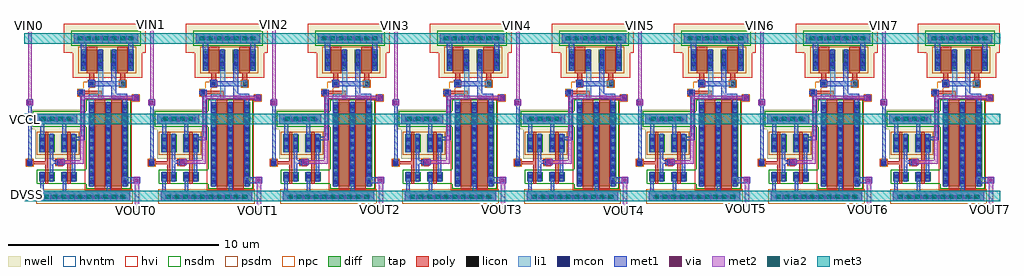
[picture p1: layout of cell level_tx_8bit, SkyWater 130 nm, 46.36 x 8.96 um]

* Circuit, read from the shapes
.subckt level_tx_8bit DVSS VCC VCCL VIN0 VIN1 VIN2 VIN3 VIN4 VIN5 VIN6 VIN7 VOUT0 VOUT1 VOUT2 VOUT3 VOUT4 VOUT5 VOUT6 VOUT7
XM1 n1 VIN0 DVSS DVSS sky130_fd_pr__nfet_01v8 w=0.42 l=0.15
XM2 n2 n1 DVSS DVSS sky130_fd_pr__nfet_01v8 w=0.42 l=0.15
XM3 DVSS n2 n3 DVSS sky130_fd_pr__nfet_g5v0d10v5 w=4 l=0.5
XM4 VOUT0 n1 DVSS DVSS sky130_fd_pr__nfet_g5v0d10v5 w=4 l=0.5
XM5 n4 VIN1 DVSS DVSS sky130_fd_pr__nfet_01v8 w=0.42 l=0.15
XM6 n5 n4 DVSS DVSS sky130_fd_pr__nfet_01v8 w=0.42 l=0.15
XM7 DVSS n5 n6 DVSS sky130_fd_pr__nfet_g5v0d10v5 w=4 l=0.5
XM8 VOUT1 n4 DVSS DVSS sky130_fd_pr__nfet_g5v0d10v5 w=4 l=0.5
XM9 n7 VIN2 DVSS DVSS sky130_fd_pr__nfet_01v8 w=0.42 l=0.15
XM10 n8 n7 DVSS DVSS sky130_fd_pr__nfet_01v8 w=0.42 l=0.15
XM11 DVSS n8 n9 DVSS sky130_fd_pr__nfet_g5v0d10v5 w=4 l=0.5
XM12 VOUT2 n7 DVSS DVSS sky130_fd_pr__nfet_g5v0d10v5 w=4 l=0.5
XM13 n10 VIN3 DVSS DVSS sky130_fd_pr__nfet_01v8 w=0.42 l=0.15
XM14 n11 n10 DVSS DVSS sky130_fd_pr__nfet_01v8 w=0.42 l=0.15
XM15 DVSS n11 n12 DVSS sky130_fd_pr__nfet_g5v0d10v5 w=4 l=0.5
XM16 VOUT3 n10 DVSS DVSS sky130_fd_pr__nfet_g5v0d10v5 w=4 l=0.5
XM17 n13 VIN4 DVSS DVSS sky130_fd_pr__nfet_01v8 w=0.42 l=0.15
XM18 n14 n13 DVSS DVSS sky130_fd_pr__nfet_01v8 w=0.42 l=0.15
XM19 DVSS n14 n15 DVSS sky130_fd_pr__nfet_g5v0d10v5 w=4 l=0.5
XM20 VOUT4 n13 DVSS DVSS sky130_fd_pr__nfet_g5v0d10v5 w=4 l=0.5
XM21 n16 VIN5 DVSS DVSS sky130_fd_pr__nfet_01v8 w=0.42 l=0.15
XM22 n17 n16 DVSS DVSS sky130_fd_pr__nfet_01v8 w=0.42 l=0.15
XM23 DVSS n17 n18 DVSS sky130_fd_pr__nfet_g5v0d10v5 w=4 l=0.5
XM24 VOUT5 n16 DVSS DVSS sky130_fd_pr__nfet_g5v0d10v5 w=4 l=0.5
XM25 n19 VIN6 DVSS DVSS sky130_fd_pr__nfet_01v8 w=0.42 l=0.15
XM26 n20 n19 DVSS DVSS sky130_fd_pr__nfet_01v8 w=0.42 l=0.15
XM27 DVSS n20 n21 DVSS sky130_fd_pr__nfet_g5v0d10v5 w=4 l=0.5
XM28 VOUT6 n19 DVSS DVSS sky130_fd_pr__nfet_g5v0d10v5 w=4 l=0.5
XM29 n22 VIN7 DVSS DVSS sky130_fd_pr__nfet_01v8 w=0.42 l=0.15
XM30 n23 n22 DVSS DVSS sky130_fd_pr__nfet_01v8 w=0.42 l=0.15
XM31 DVSS n23 n24 DVSS sky130_fd_pr__nfet_g5v0d10v5 w=4 l=0.5
XM32 VOUT7 n22 DVSS DVSS sky130_fd_pr__nfet_g5v0d10v5 w=4 l=0.5
XM33 n1 VIN0 VCCL VCCL sky130_fd_pr__pfet_01v8 w=0.84 l=0.15
XM34 n2 n1 VCCL VCCL sky130_fd_pr__pfet_01v8 w=0.84 l=0.15
XM35 n3 VOUT0 VCC VCC sky130_fd_pr__pfet_g5v0d10v5 w=1 l=0.5
XM36 VCC n3 VOUT0 VCC sky130_fd_pr__pfet_g5v0d10v5 w=1 l=0.5
XM37 n4 VIN1 VCCL VCCL sky130_fd_pr__pfet_01v8 w=0.84 l=0.15
XM38 n5 n4 VCCL VCCL sky130_fd_pr__pfet_01v8 w=0.84 l=0.15
XM39 n6 VOUT1 VCC VCC sky130_fd_pr__pfet_g5v0d10v5 w=1 l=0.5
XM40 VCC n6 VOUT1 VCC sky130_fd_pr__pfet_g5v0d10v5 w=1 l=0.5
XM41 n7 VIN2 VCCL VCCL sky130_fd_pr__pfet_01v8 w=0.84 l=0.15
XM42 n8 n7 VCCL VCCL sky130_fd_pr__pfet_01v8 w=0.84 l=0.15
XM43 n9 VOUT2 VCC VCC sky130_fd_pr__pfet_g5v0d10v5 w=1 l=0.5
XM44 VCC n9 VOUT2 VCC sky130_fd_pr__pfet_g5v0d10v5 w=1 l=0.5
XM45 n10 VIN3 VCCL VCCL sky130_fd_pr__pfet_01v8 w=0.84 l=0.15
XM46 n11 n10 VCCL VCCL sky130_fd_pr__pfet_01v8 w=0.84 l=0.15
XM47 n12 VOUT3 VCC VCC sky130_fd_pr__pfet_g5v0d10v5 w=1 l=0.5
XM48 VCC n12 VOUT3 VCC sky130_fd_pr__pfet_g5v0d10v5 w=1 l=0.5
XM49 n13 VIN4 VCCL VCCL sky130_fd_pr__pfet_01v8 w=0.84 l=0.15
XM50 n14 n13 VCCL VCCL sky130_fd_pr__pfet_01v8 w=0.84 l=0.15
XM51 n15 VOUT4 VCC VCC sky130_fd_pr__pfet_g5v0d10v5 w=1 l=0.5
XM52 VCC n15 VOUT4 VCC sky130_fd_pr__pfet_g5v0d10v5 w=1 l=0.5
XM53 n16 VIN5 VCCL VCCL sky130_fd_pr__pfet_01v8 w=0.84 l=0.15
XM54 n17 n16 VCCL VCCL sky130_fd_pr__pfet_01v8 w=0.84 l=0.15
XM55 n18 VOUT5 VCC VCC sky130_fd_pr__pfet_g5v0d10v5 w=1 l=0.5
XM56 VCC n18 VOUT5 VCC sky130_fd_pr__pfet_g5v0d10v5 w=1 l=0.5
XM57 n19 VIN6 VCCL VCCL sky130_fd_pr__pfet_01v8 w=0.84 l=0.15
XM58 n20 n19 VCCL VCCL sky130_fd_pr__pfet_01v8 w=0.84 l=0.15
XM59 n21 VOUT6 VCC VCC sky130_fd_pr__pfet_g5v0d10v5 w=1 l=0.5
XM60 VCC n21 VOUT6 VCC sky130_fd_pr__pfet_g5v0d10v5 w=1 l=0.5
XM61 n22 VIN7 VCCL VCCL sky130_fd_pr__pfet_01v8 w=0.84 l=0.15
XM62 n23 n22 VCCL VCCL sky130_fd_pr__pfet_01v8 w=0.84 l=0.15
XM63 n24 VOUT7 VCC VCC sky130_fd_pr__pfet_g5v0d10v5 w=1 l=0.5
XM64 VCC n24 VOUT7 VCC sky130_fd_pr__pfet_g5v0d10v5 w=1 l=0.5
.ends

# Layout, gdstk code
import gdstk
lib = gdstk.Library(unit=1e-6, precision=1e-09)
def R(c, l, rs):  # rectangles x0, y0, x1, y1
    for r in rs: c.add(gdstk.rectangle(r[:2], r[2:], *l))
def A(c, l, x, y, w, h, nx, ny, dx, dy):  # array of equal rectangles
    R(c, l, [(x+i*dx, y+j*dy, x+i*dx+w, y+j*dy+h) for i in range(nx) for j in range(ny)])
nwell = (64, 20)
diff = (65, 20)
tap = (65, 44)
poly = (66, 20)
licon = (66, 44)
li1 = (67, 20)
mcon = (67, 44)
met1 = (68, 20)
via = (68, 44)
met2 = (69, 20)
via2 = (69, 44)
met3 = (70, 20)
hvi = (75, 20)
nsdm = (93, 44)
psdm = (94, 20)
npc = (95, 20)
hvntm = (125, 20)

level_tx_1bit = lib.new_cell('level_tx_1bit')
R(level_tx_1bit, nwell, [(-9.67,3.77,-7.53,5.17), (-9.88,5.17,-7.49,6.095), (-7.9,7.6,-4.6,8.79), (-8.33,8.79,-4.42,10.17)])
R(level_tx_1bit, diff, [(-7.14,2.45,-5.27,6.45), (-9.49,2.7,-8.76,3.12), (-8.44,2.7,-7.71,3.12), (-9.49,4.08,-8.76,4.92), (-8.44,4.08,-7.71,4.92), (-7.52,7.95,-6.44,8.95), (-6.08,7.95,-5,8.95)])
R(level_tx_1bit, tap, [(-9.505,1.74,-5.17,2.18), (-9.675,5.405,-7.69,5.895), (-7.84,9.25,-4.785,9.72)])
R(level_tx_1bit, poly, [(-6.85,2.32,-6.35,6.58), (-6.06,2.32,-5.56,6.55), (-9.2,2.57,-9.05,3.495), (-8.15,2.57,-8,3.525), (-10.1,3.435,-9.77,3.495), (-8.715,3.465,-8.385,3.525), (-10.1,3.495,-9.05,3.645), (-8.715,3.525,-8,3.675), (-10.1,3.645,-9.77,3.705), (-9.2,3.645,-9.05,5.05), (-8.715,3.675,-8.385,3.735), (-8.15,3.675,-8,5.05), (-5.065,6.515,-4.735,6.55), (-6.06,6.55,-4.735,6.75), (-6.685,6.58,-6.515,6.815), (-6.06,6.75,-5.57,6.755), (-5.065,6.75,-4.735,6.785), (-7.665,6.765,-7.335,6.815), (-7.665,6.815,-6.515,6.985), (-7.665,6.985,-7.335,7.035), (-5.68,7.19,-5.35,7.46), (-7.165,7.195,-6.835,7.465), (-5.63,7.46,-5.405,7.82), (-7.12,7.465,-6.88,7.82), (-7.23,7.82,-6.73,9.08), (-5.79,7.82,-5.29,9.08)])
A(level_tx_1bit, licon, -9.295, 1.855, 0.17, 0.17, 12, 1, 0.34, 0)
A(level_tx_1bit, licon, -7.08, 2.665, 0.17, 0.17, 3, 11, 0.79, 0.34)
A(level_tx_1bit, licon, -9.445, 5.545, 0.17, 0.17, 5, 1, 0.34, 0)
A(level_tx_1bit, licon, -7.46, 8.025, 0.17, 0.17, 1, 3, 0, 0.34)
A(level_tx_1bit, licon, -6.67, 8.025, 0.17, 0.17, 1, 3, 0, 0.34)
A(level_tx_1bit, licon, -6.02, 8.025, 0.17, 0.17, 1, 3, 0, 0.34)
A(level_tx_1bit, licon, -5.23, 8.025, 0.17, 0.17, 1, 3, 0, 0.34)
A(level_tx_1bit, licon, -7.61, 9.385, 0.17, 0.17, 8, 1, 0.34, 0)
R(level_tx_1bit, licon, [(-9.43,2.825,-9.26,2.995), (-8.99,2.825,-8.82,2.995), (-8.38,2.825,-8.21,2.995), (-7.94,2.825,-7.77,2.995), (-10.02,3.485,-9.85,3.655), (-8.635,3.515,-8.465,3.685), (-9.43,4.245,-9.26,4.415), (-8.99,4.245,-8.82,4.415), (-8.38,4.245,-8.21,4.415), (-7.94,4.245,-7.77,4.415), (-9.43,4.585,-9.26,4.755), (-8.99,4.585,-8.82,4.755), (-8.38,4.585,-8.21,4.755), (-7.94,4.585,-7.77,4.755), (-4.985,6.565,-4.815,6.735), (-7.585,6.815,-7.415,6.985), (-5.6,7.24,-5.43,7.41), (-7.085,7.245,-6.915,7.415)])
R(level_tx_1bit, li1, [(-9.505,1.74,-5.165,2.24), (-7.08,2.43,-6.91,5.91), (-6.29,2.43,-6.12,6.47), (-5.5,2.43,-5.33,6.47), (-9.43,2.68,-9.26,3.14), (-8.99,2.68,-8.82,3.14), (-8.38,2.68,-8.21,3.14), (-7.94,2.68,-7.77,3.14), (-10.02,3.405,-9.85,3.735), (-8.635,3.435,-8.465,3.765), (-9.43,4.06,-9.26,4.94), (-8.99,4.06,-8.82,4.94), (-8.38,4.06,-8.21,4.94), (-7.94,4.06,-7.77,4.94), (-9.675,5.405,-7.69,5.895), (-7.13,5.91,-6.905,6.6), (-4.985,6.485,-4.815,6.55), (-5,6.55,-4.8,6.75), (-7.13,6.6,-6.455,6.825), (-7.585,6.735,-7.415,7.065), (-4.985,6.75,-4.815,6.815), (-6.68,6.825,-6.455,7.215), (-5.6,7.16,-5.43,7.215), (-7.085,7.165,-6.915,7.21), (-7.12,7.21,-6.88,7.45), (-6.68,7.215,-5.4,7.44), (-6.68,7.44,-6.455,8.36), (-5.6,7.44,-5.43,7.49), (-7.085,7.45,-6.915,7.495), (-7.46,7.93,-7.29,8.97), (-6.02,7.93,-5.85,8.97), (-5.23,7.93,-5.06,8.97), (-6.67,8.36,-6.5,8.97), (-7.84,9.25,-4.785,9.72)])
A(level_tx_1bit, mcon, -9.225, 1.855, 0.17, 0.17, 11, 1, 0.36, 0)
A(level_tx_1bit, mcon, -7.08, 2.565, 0.17, 0.17, 3, 11, 0.79, 0.36)
A(level_tx_1bit, mcon, -9.485, 5.545, 0.17, 0.17, 5, 1, 0.36, 0)
A(level_tx_1bit, mcon, -7.68, 9.385, 0.17, 0.17, 8, 1, 0.36, 0)
R(level_tx_1bit, mcon, [(-9.43,2.825,-9.26,2.995), (-8.99,2.825,-8.82,2.995), (-8.38,2.825,-8.21,2.995), (-7.94,2.825,-7.77,2.995), (-10.02,3.485,-9.85,3.655), (-8.635,3.515,-8.465,3.685), (-9.43,4.235,-9.26,4.405), (-8.99,4.235,-8.82,4.405), (-8.38,4.235,-8.21,4.405), (-7.94,4.235,-7.77,4.405), (-9.43,4.595,-9.26,4.765), (-8.99,4.595,-8.82,4.765), (-8.38,4.595,-8.21,4.765), (-7.94,4.595,-7.77,4.765), (-4.985,6.565,-4.815,6.735), (-7.585,6.815,-7.415,6.985), (-7.085,7.245,-6.915,7.415), (-7.46,8.185,-7.29,8.355), (-6.67,8.185,-6.5,8.355), (-6.02,8.185,-5.85,8.355), (-5.23,8.185,-5.06,8.355), (-7.46,8.545,-7.29,8.715), (-6.67,8.545,-6.5,8.715), (-6.02,8.545,-5.85,8.715), (-5.23,8.545,-5.06,8.715)])
R(level_tx_1bit, met1, [(-9.505,1.74,-5.165,2.24), (-9.435,2.24,-9.27,2.7), (-8.37,2.24,-8.205,2.7), (-6.29,2.24,-6.095,2.45), (-7.11,2.45,-6.88,6.45), (-6.32,2.45,-6.09,6.45), (-5.53,2.45,-5.3,2.595), (-5.575,2.595,-4.68,2.885), (-9.46,2.7,-9.23,3.12), (-9.02,2.7,-8.79,3.12), (-8.41,2.7,-8.18,3.12), (-7.97,2.7,-7.74,3.12), (-5.55,2.885,-5.3,6.45), (-8.985,3.12,-8.815,3.515), (-7.935,3.12,-7.765,4.08), (-10.05,3.425,-9.82,3.715), (-8.665,3.455,-8.435,3.47), (-8.665,3.47,-8.285,3.515), (-8.985,3.515,-8.285,3.685), (-8.985,3.685,-8.815,4.08), (-8.665,3.685,-8.285,3.73), (-10.02,3.715,-9.85,6.27), (-8.665,3.73,-8.435,3.745), (-9.46,4.08,-9.23,4.92), (-9.02,4.08,-8.79,4.92), (-8.41,4.08,-8.18,4.92), (-7.97,4.08,-7.74,4.635), (-7.97,4.635,-7.32,4.815), (-7.97,4.815,-7.74,4.92), (-7.49,4.815,-7.32,6.755), (-9.445,4.92,-9.245,5.405), (-8.985,4.92,-8.815,4.94), (-8.395,4.92,-8.195,5.405), (-9.675,5.405,-7.69,5.89), (-10.065,6.27,-9.805,6.59), (-5.55,6.45,-5.31,6.6), (-5.03,6.49,-4.77,6.52), (-5.06,6.52,-4.74,6.78), (-6.07,6.6,-5.31,6.84), (-7.615,6.755,-7.32,6.815), (-5.03,6.78,-4.77,6.81), (-7.685,6.815,-7.32,6.985), (-6.07,6.84,-5.83,7.21), (-7.615,6.985,-7.32,7.045), (-7.15,7.15,-6.85,7.21), (-7.15,7.21,-5.83,7.45), (-7.15,7.45,-6.85,7.51), (-6.07,7.45,-5.83,7.95), (-7.49,7.95,-7.26,8.915), (-6.7,7.95,-6.47,8.95), (-6.07,7.95,-5.82,8.29), (-5.26,7.95,-5.03,8.9), (-6.05,8.29,-5.82,8.95), (-5.27,8.9,-5.015,9.25), (-7.505,8.915,-7.25,9.25), (-7.84,9.25,-4.785,9.72)])
A(level_tx_1bit, via, -9.175, 1.865, 0.15, 0.15, 12, 1, 0.32, 0)
A(level_tx_1bit, via, -9.395, 5.58, 0.15, 0.15, 5, 1, 0.32, 0)
A(level_tx_1bit, via, -7.53, 9.41, 0.15, 0.15, 8, 1, 0.32, 0)
R(level_tx_1bit, via, [(-4.93,2.665,-4.78,2.815), (-8.52,3.525,-8.37,3.675), (-10.01,6.355,-9.86,6.505), (-4.975,6.575,-4.825,6.725)])
R(level_tx_1bit, met2, [(-4.96,1.215,-4.745,2.565), (-9.505,1.74,-5.165,2.24), (-5,2.565,-4.71,2.915), (-8.575,3.44,-8.315,3.515), (-8.575,3.515,-7.365,3.685), (-8.575,3.685,-8.315,3.76), (-7.535,3.685,-7.365,6.58), (-9.675,5.405,-7.69,5.89), (-10.095,6.3,-9.775,6.56), (-5.03,6.49,-4.77,6.58), (-10.02,6.56,-9.85,10.18), (-7.535,6.58,-4.77,6.75), (-5.03,6.75,-4.77,6.81), (-7.84,9.25,-4.785,9.72)])
A(level_tx_1bit, via2, -9.235, 1.855, 0.2, 0.2, 10, 1, 0.4, 0)
A(level_tx_1bit, via2, -9.38, 5.555, 0.2, 0.2, 4, 1, 0.4, 0)
A(level_tx_1bit, via2, -7.635, 9.385, 0.2, 0.2, 7, 1, 0.4, 0)
R(level_tx_1bit, met3, [(-10.21,1.74,-4.415,2.24), (-10.21,5.4,-4.415,5.9), (-10.21,9.235,-4.415,9.72), (-10.21,9.72,-7.84,9.735), (-4.785,9.72,-4.415,9.735)])
R(level_tx_1bit, hvi, [(-7.325,2.265,-5.085,6.635), (-7.9,7.6,-4.6,8.79), (-8.33,8.79,-4.42,10.17)])
R(level_tx_1bit, nsdm, [(-7.265,2.325,-5.145,2.575), (-9.615,2.575,-5.145,3.245), (-7.265,3.245,-5.145,5.28), (-9.8,5.28,-5.145,6.02), (-7.265,6.02,-5.145,6.575), (-7.965,9.125,-4.66,9.845)])
R(level_tx_1bit, psdm, [(-9.63,1.615,-5.045,2.305), (-9.615,3.955,-7.585,5.045), (-7.645,7.825,-4.875,9.075)])
R(level_tx_1bit, npc, [(-10.12,3.385,-9.75,3.755), (-8.735,3.415,-8.365,3.785), (-5.085,6.465,-4.715,6.835), (-7.685,6.715,-7.315,6.82), (-7.685,6.82,-7.115,7.085), (-7.385,7.085,-7.115,7.145), (-5.7,7.14,-5.33,7.51), (-7.385,7.145,-6.815,7.41), (-7.185,7.41,-6.815,7.515)])
R(level_tx_1bit, hvntm, [(-7.325,2.265,-5.085,6.635)])
level_tx_1bit.add(gdstk.Label('DVSS', (-10.015,2), layer=70, texttype=5))
level_tx_1bit.add(gdstk.Label('VCCL', (-10.15,5.665), layer=70, texttype=5))
level_tx_1bit.add(gdstk.Label('VCC', (-10.125,9.525), layer=70, texttype=5))
level_tx_1bit.add(gdstk.Label('VIN', (-9.935,10.12), layer=69, texttype=5))
level_tx_1bit.add(gdstk.Label('VOUT', (-4.845,1.295), layer=69, texttype=5))

level_tx_8bit = lib.new_cell('level_tx_8bit')
R(level_tx_8bit, met2, [(5.25,0,5.465,0.385), (11.045,0,11.26,0.385), (16.84,0,17.055,0.355), (22.635,0,22.85,0.445), (28.43,0,28.645,0.435), (34.225,0,34.44,0.475), (40.02,0,40.235,0.395), (45.815,0,46.03,0.405), (17.575,8.635,17.745,8.965), (29.165,8.635,29.335,8.965), (34.96,8.635,35.13,8.965), (11.78,8.645,11.95,8.965), (23.37,8.645,23.54,8.965), (5.985,8.655,6.155,8.965), (40.755,8.655,40.925,8.965), (0.19,8.685,0.36,8.965)])
R(level_tx_8bit, met3, [(0,0.525,1.34,1.025), (0,4.185,0.87,4.685), (0,8.02,0.82,8.52)])
r = gdstk.Reference(level_tx_1bit, (10.21,-1.215)); r.repetition = gdstk.Repetition(8, 1, v1=(5.795,0), v2=(0,8.965)); level_tx_8bit.add(r)
level_tx_8bit.add(gdstk.Label('VIN0', (0.25,8.9), layer=69, texttype=5))
level_tx_8bit.add(gdstk.Label('VIN1', (6.04,8.93), layer=69, texttype=5))
level_tx_8bit.add(gdstk.Label('VIN2', (11.89,8.92), layer=69, texttype=5))
level_tx_8bit.add(gdstk.Label('VIN3', (17.64,8.89), layer=69, texttype=5))
level_tx_8bit.add(gdstk.Label('VIN4', (23.46,8.88), layer=69, texttype=5))
level_tx_8bit.add(gdstk.Label('VIN5', (29.27,8.87), layer=69, texttype=5))
level_tx_8bit.add(gdstk.Label('VIN6', (35,8.89), layer=69, texttype=5))
level_tx_8bit.add(gdstk.Label('VIN7', (40.86,8.88), layer=69, texttype=5))
level_tx_8bit.add(gdstk.Label('VCC', (0.08,8.25), layer=70, texttype=5))
level_tx_8bit.add(gdstk.Label('VCCL', (0.08,4.4), layer=70, texttype=5))
level_tx_8bit.add(gdstk.Label('DVSS', (0.17,0.86), layer=70, texttype=5))
level_tx_8bit.add(gdstk.Label('VOUT0', (5.33,0.11), layer=69, texttype=5))
level_tx_8bit.add(gdstk.Label('VOUT1', (11.13,0.11), layer=69, texttype=5))
level_tx_8bit.add(gdstk.Label('VOUT2', (16.94,0.12), layer=69, texttype=5))
level_tx_8bit.add(gdstk.Label('VOUT3', (22.72,0.12), layer=69, texttype=5))
level_tx_8bit.add(gdstk.Label('VOUT4', (28.53,0.11), layer=69, texttype=5))
level_tx_8bit.add(gdstk.Label('VOUT5', (34.32,0.2), layer=69, texttype=5))
level_tx_8bit.add(gdstk.Label('VOUT6', (40.13,0.15), layer=69, texttype=5))
level_tx_8bit.add(gdstk.Label('VOUT7', (45.92,0.15), layer=69, texttype=5))

lib.write_gds('level_tx_8bit.gds')
